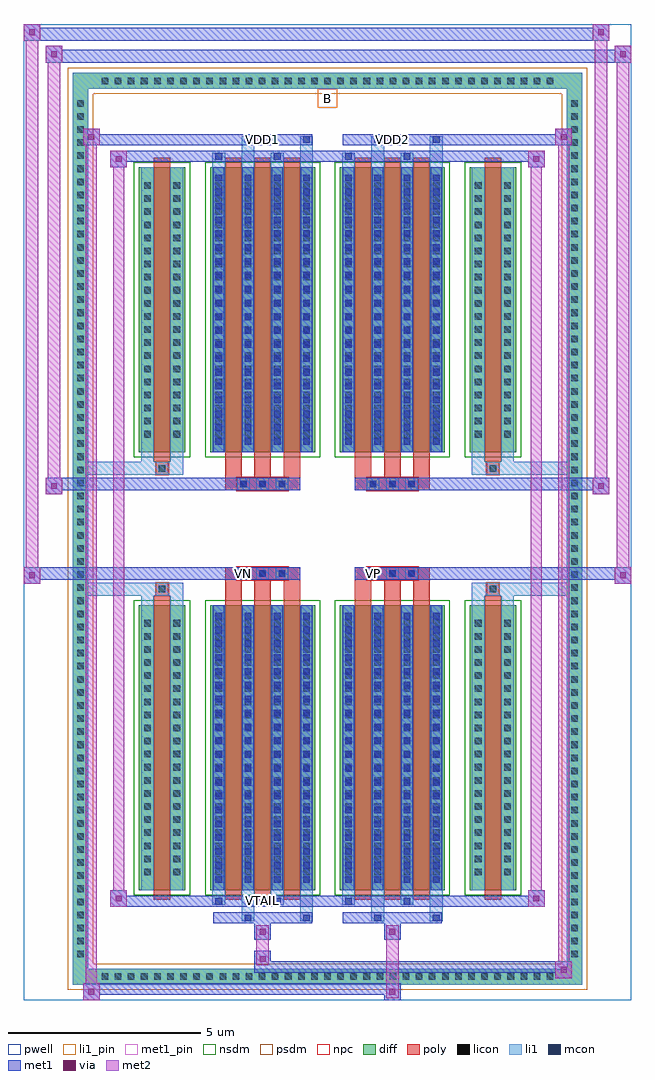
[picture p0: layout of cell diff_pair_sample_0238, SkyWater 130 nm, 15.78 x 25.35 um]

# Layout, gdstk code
import gdstk
lib = gdstk.Library(unit=1e-6, precision=5e-09)
def R(c, l, rs):  # rectangles x0, y0, x1, y1
    for r in rs: c.add(gdstk.rectangle(r[:2], r[2:], *l))
def A(c, l, x, y, w, h, nx, ny, dx, dy):  # array of equal rectangles
    R(c, l, [(x+i*dx, y+j*dy, x+i*dx+w, y+j*dy+h) for i in range(nx) for j in range(ny)])
def P(c, l, *ps):  # polygons
    for p in ps: c.add(gdstk.Polygon(p, *l))
pwell = (64, 44)
diff = (65, 20)
poly = (66, 20)
licon = (66, 44)
li1_pin = (67, 16)
li1 = (67, 20)
mcon = (67, 44)
met1_pin = (68, 16)
met1 = (68, 20)
via = (68, 44)
met2 = (69, 20)
nsdm = (93, 44)
psdm = (94, 20)
npc = (95, 20)

diff_pair_sample_0238 = lib.new_cell('diff_pair_sample_0238')
R(diff_pair_sample_0238, pwell, [(-7.89,-12.24,7.89,13.11), (-5.21,-10.43,-0.01,-0.795), (0.01,-10.43,5.21,-0.795), (-5.21,0.795,-0.01,10.43), (0.01,0.795,5.21,10.43)])
A(diff_pair_sample_0238, diff, -5.985, -11.84, 0.41, 0.41, 35, 2, 0.34, 23.27)
A(diff_pair_sample_0238, diff, -6.62, -11.255, 0.41, 0.41, 1, 66, 0, 0.34)
A(diff_pair_sample_0238, diff, 6.21, -11.255, 0.41, 0.41, 1, 66, 0, 0.34)
R(diff_pair_sample_0238, diff, [(-5.985,-11.84,5.985,-11.43), (-6.62,-11.255,-6.21,11.255), (6.21,-11.255,6.62,11.255), (-4.9,-9.385,-3.69,-1.985), (-3.05,-9.385,-0.32,-1.985), (0.32,-9.385,3.05,-1.985), (3.69,-9.385,4.9,-1.985), (-4.9,1.985,-3.69,9.385), (-3.05,1.985,-0.32,9.385), (0.32,1.985,3.05,9.385), (3.69,1.985,4.9,9.385), (-5.985,11.43,5.985,11.84)])
P(diff_pair_sample_0238, diff, [(6.62,11.84),(-6.62,11.84),(-6.62,-11.43),(-6.21,-11.43),(-6.21,11.43),(6.21,11.43),(6.21,-11.43),(-6.21,-11.43),(-6.62,-11.43),(-6.62,-11.84),(6.62,-11.84)])
A(diff_pair_sample_0238, poly, -2.66, -9.635, 0.43, 7.9, 3, 2, 0.76, 11.37)
A(diff_pair_sample_0238, poly, 0.71, -9.635, 0.43, 7.9, 3, 2, 0.76, 11.37)
A(diff_pair_sample_0238, poly, -2.66, -1.735, 0.43, 0.41, 3, 2, 0.76, 3.06)
A(diff_pair_sample_0238, poly, 0.71, -1.735, 0.43, 0.41, 3, 2, 0.76, 3.06)
A(diff_pair_sample_0238, poly, -2.35, -1.325, 0.33, 0.33, 3, 2, 0.5, 2.32)
A(diff_pair_sample_0238, poly, 1.02, -1.325, 0.33, 0.33, 3, 2, 0.5, 2.32)
R(diff_pair_sample_0238, poly, [(-4.51,-9.635,-4.08,-1.735), (4.08,-9.635,4.51,-1.735), (-4.46,-1.735,-4.13,-1.405), (-4.46,-1.735,-4.13,-1.405), (4.13,-1.735,4.46,-1.405), (4.13,-1.735,4.46,-1.405), (-2.66,-1.325,-0.71,-0.995), (0.71,-1.325,2.66,-0.995), (-2.66,0.995,-0.71,1.325), (0.71,0.995,2.66,1.325), (-4.46,1.405,-4.13,1.735), (-4.46,1.405,-4.13,1.735), (4.13,1.405,4.46,1.735), (4.13,1.405,4.46,1.735), (-4.51,1.735,-4.08,9.635), (4.08,1.735,4.51,9.635)])
A(diff_pair_sample_0238, licon, -5.865, -11.72, 0.17, 0.17, 35, 2, 0.34, 23.27)
A(diff_pair_sample_0238, licon, -6.5, -11.135, 0.17, 0.17, 1, 66, 0, 0.34)
A(diff_pair_sample_0238, licon, 6.33, -11.135, 0.17, 0.17, 1, 66, 0, 0.34)
A(diff_pair_sample_0238, licon, -4.76, -9, 0.17, 0.17, 1, 20, 0, 0.34)
A(diff_pair_sample_0238, licon, -4, -9, 0.17, 0.17, 1, 20, 0, 0.34)
A(diff_pair_sample_0238, licon, -2.91, -9, 0.17, 0.17, 4, 20, 0.76, 0.34)
A(diff_pair_sample_0238, licon, 0.46, -9, 0.17, 0.17, 4, 20, 0.76, 0.34)
A(diff_pair_sample_0238, licon, 3.83, -9, 0.17, 0.17, 1, 20, 0, 0.34)
A(diff_pair_sample_0238, licon, 4.59, -9, 0.17, 0.17, 1, 20, 0, 0.34)
A(diff_pair_sample_0238, licon, -2.27, -1.245, 0.17, 0.17, 3, 2, 0.5, 2.32)
A(diff_pair_sample_0238, licon, 1.1, -1.245, 0.17, 0.17, 3, 2, 0.5, 2.32)
A(diff_pair_sample_0238, licon, -4.76, 2.37, 0.17, 0.17, 1, 20, 0, 0.34)
A(diff_pair_sample_0238, licon, -4, 2.37, 0.17, 0.17, 1, 20, 0, 0.34)
A(diff_pair_sample_0238, licon, -2.91, 2.37, 0.17, 0.17, 4, 20, 0.76, 0.34)
A(diff_pair_sample_0238, licon, 0.46, 2.37, 0.17, 0.17, 4, 20, 0.76, 0.34)
A(diff_pair_sample_0238, licon, 3.83, 2.37, 0.17, 0.17, 1, 20, 0, 0.34)
A(diff_pair_sample_0238, licon, 4.59, 2.37, 0.17, 0.17, 1, 20, 0, 0.34)
R(diff_pair_sample_0238, licon, [(-4.38,-1.655,-4.21,-1.485), (4.21,-1.655,4.38,-1.485), (-4.38,1.485,-4.21,1.655), (4.21,1.485,4.38,1.655)])
R(diff_pair_sample_0238, li1_pin, [(-0.25,10.93,0.25,11.43)])
A(diff_pair_sample_0238, li1, -5.945, -11.8, 0.33, 0.33, 35, 2, 0.34, 23.27)
A(diff_pair_sample_0238, li1, -6.58, -11.215, 0.33, 0.33, 1, 66, 0, 0.34)
A(diff_pair_sample_0238, li1, 6.25, -11.215, 0.33, 0.33, 1, 66, 0, 0.34)
A(diff_pair_sample_0238, li1, -2.99, -9.385, 0.33, 7.4, 4, 2, 0.76, 11.37)
A(diff_pair_sample_0238, li1, 0.38, -9.385, 0.33, 7.4, 4, 2, 0.76, 11.37)
A(diff_pair_sample_0238, li1, -2.91, -9.19, 0.17, 0.17, 4, 20, 0.76, 0.36)
A(diff_pair_sample_0238, li1, -2.91, -9.19, 0.17, 7.01, 4, 2, 0.76, 11.37)
A(diff_pair_sample_0238, li1, 0.46, -9.19, 0.17, 0.17, 4, 20, 0.76, 0.36)
A(diff_pair_sample_0238, li1, 0.46, -9.19, 0.17, 7.01, 4, 2, 0.76, 11.37)
A(diff_pair_sample_0238, li1, -4.84, -9.08, 0.33, 0.33, 1, 20, 0, 0.34)
A(diff_pair_sample_0238, li1, -4.08, -9.08, 0.33, 0.33, 1, 20, 0, 0.34)
A(diff_pair_sample_0238, li1, -2.99, -9.08, 0.33, 0.33, 4, 20, 0.76, 0.34)
A(diff_pair_sample_0238, li1, 0.38, -9.08, 0.33, 0.33, 4, 20, 0.76, 0.34)
A(diff_pair_sample_0238, li1, 3.75, -9.08, 0.33, 0.33, 1, 20, 0, 0.34)
A(diff_pair_sample_0238, li1, 4.51, -9.08, 0.33, 0.33, 1, 20, 0, 0.34)
A(diff_pair_sample_0238, li1, -2.35, -1.325, 0.33, 0.33, 3, 2, 0.5, 2.32)
A(diff_pair_sample_0238, li1, 1.02, -1.325, 0.33, 0.33, 3, 2, 0.5, 2.32)
A(diff_pair_sample_0238, li1, -2.91, 2.18, 0.17, 0.17, 4, 20, 0.76, 0.36)
A(diff_pair_sample_0238, li1, 0.46, 2.18, 0.17, 0.17, 4, 20, 0.76, 0.36)
A(diff_pair_sample_0238, li1, -4.84, 2.29, 0.33, 0.33, 1, 20, 0, 0.34)
A(diff_pair_sample_0238, li1, -4.08, 2.29, 0.33, 0.33, 1, 20, 0, 0.34)
A(diff_pair_sample_0238, li1, -2.99, 2.29, 0.33, 0.33, 4, 20, 0.76, 0.34)
A(diff_pair_sample_0238, li1, 0.38, 2.29, 0.33, 0.33, 4, 20, 0.76, 0.34)
A(diff_pair_sample_0238, li1, 3.75, 2.29, 0.33, 0.33, 1, 20, 0, 0.34)
A(diff_pair_sample_0238, li1, 4.51, 2.29, 0.33, 0.33, 1, 20, 0, 0.34)
R(diff_pair_sample_0238, li1, [(-6.62,-11.84,-6.21,-11.43), (-6.62,-11.84,-6.21,-11.43), (-6.21,-11.84,6.21,-11.43), (6.21,-11.84,6.62,-11.43), (6.21,-11.84,6.62,-11.43), (-6.62,-11.43,-6.21,11.43), (6.21,-11.43,6.62,11.43), (-2.23,-10.19,-1.9,-9.385), (-2.15,-10.19,-1.98,-10.02), (-0.71,-10.19,-0.38,-9.385), (-0.63,-10.19,-0.46,-10.02), (1.14,-10.19,1.47,-9.385), (1.22,-10.19,1.39,-10.02), (2.66,-10.19,2.99,-9.385), (2.74,-10.19,2.91,-10.02), (-2.99,-9.76,-2.66,-9.385), (-2.91,-9.76,-2.74,-9.59), (-1.47,-9.76,-1.14,-9.385), (-1.39,-9.76,-1.22,-9.59), (0.38,-9.76,0.71,-9.385), (0.46,-9.76,0.63,-9.59), (1.9,-9.76,2.23,-9.385), (1.98,-9.76,2.15,-9.59), (-4.84,-9.385,-4.51,-1.985), (-4.08,-9.385,-3.75,-1.985), (3.75,-9.385,4.08,-1.985), (4.51,-9.385,4.84,-1.985), (-4.84,-1.985,-4.51,-1.405), (-4.08,-1.985,-3.75,-1.405), (3.75,-1.985,4.08,-1.405), (4.51,-1.985,4.84,-1.405), (-6.62,-1.735,-4.46,-1.405), (-4.84,-1.735,-4.46,-1.405), (-4.46,-1.735,-4.13,-1.405), (-4.13,-1.735,-3.75,-1.405), (3.75,-1.735,4.13,-1.405), (4.13,-1.735,4.46,-1.405), (4.13,-1.735,6.62,-1.405), (4.46,-1.735,4.84,-1.405), (-6.62,1.405,-4.46,1.735), (-4.84,1.405,-4.46,1.735), (-4.84,1.405,-4.51,1.985), (-4.46,1.405,-4.13,1.735), (-4.13,1.405,-3.75,1.735), (-4.08,1.405,-3.75,1.985), (3.75,1.405,4.13,1.735), (3.75,1.405,4.08,1.985), (4.13,1.405,4.46,1.735), (4.13,1.405,6.62,1.735), (4.46,1.405,4.84,1.735), (4.51,1.405,4.84,1.985), (-4.84,1.985,-4.51,9.385), (-4.08,1.985,-3.75,9.385), (3.75,1.985,4.08,9.385), (4.51,1.985,4.84,9.385), (-2.99,9.385,-2.66,9.76), (-2.23,9.385,-1.9,10.19), (-1.47,9.385,-1.14,9.76), (-0.71,9.385,-0.38,10.19), (0.38,9.385,0.71,9.76), (1.14,9.385,1.47,10.19), (1.9,9.385,2.23,9.76), (2.66,9.385,2.99,10.19), (-2.91,9.59,-2.74,9.76), (-1.39,9.59,-1.22,9.76), (0.46,9.59,0.63,9.76), (1.98,9.59,2.15,9.76), (-2.15,10.02,-1.98,10.19), (-0.63,10.02,-0.46,10.19), (1.22,10.02,1.39,10.19), (2.74,10.02,2.91,10.19), (-6.62,11.43,-6.21,11.84), (-6.62,11.43,-6.21,11.84), (-6.21,11.43,6.21,11.84), (6.21,11.43,6.62,11.84), (6.21,11.43,6.62,11.84)])
A(diff_pair_sample_0238, mcon, -2.91, -9.19, 0.17, 0.17, 4, 20, 0.76, 0.36)
A(diff_pair_sample_0238, mcon, 0.46, -9.19, 0.17, 0.17, 4, 20, 0.76, 0.36)
A(diff_pair_sample_0238, mcon, -2.27, -1.245, 0.17, 0.17, 3, 2, 0.5, 2.32)
A(diff_pair_sample_0238, mcon, 1.1, -1.245, 0.17, 0.17, 3, 2, 0.5, 2.32)
A(diff_pair_sample_0238, mcon, -2.91, 2.18, 0.17, 0.17, 4, 20, 0.76, 0.36)
A(diff_pair_sample_0238, mcon, 0.46, 2.18, 0.17, 0.17, 4, 20, 0.76, 0.36)
R(diff_pair_sample_0238, mcon, [(-2.15,-10.19,-1.98,-10.02), (-0.63,-10.19,-0.46,-10.02), (1.22,-10.19,1.39,-10.02), (2.74,-10.19,2.91,-10.02), (-2.91,-9.76,-2.74,-9.59), (-1.39,-9.76,-1.22,-9.59), (0.46,-9.76,0.63,-9.59), (1.98,-9.76,2.15,-9.59), (-2.91,9.59,-2.74,9.76), (-1.39,9.59,-1.22,9.76), (0.46,9.59,0.63,9.76), (1.98,9.59,2.15,9.76), (-2.15,10.02,-1.98,10.19), (-0.63,10.02,-0.46,10.19), (1.22,10.02,1.39,10.19), (2.74,10.02,2.91,10.19)])
R(diff_pair_sample_0238, met1_pin, [(-1.82,-9.8,-1.55,-9.53), (-2.32,-1.285,-2.05,-1.015), (1.05,-1.285,1.32,-1.015), (-1.82,9.98,-1.55,10.25), (1.55,9.98,1.82,10.25)])
A(diff_pair_sample_0238, met1, -2.97, -9.385, 0.29, 7.4, 4, 2, 0.76, 11.37)
A(diff_pair_sample_0238, met1, 0.4, -9.385, 0.29, 7.4, 4, 2, 0.76, 11.37)
A(diff_pair_sample_0238, met1, -2.97, -9.25, 0.29, 0.29, 4, 20, 0.76, 0.36)
A(diff_pair_sample_0238, met1, 0.4, -9.25, 0.29, 0.29, 4, 20, 0.76, 0.36)
A(diff_pair_sample_0238, met1, -2.33, -1.305, 0.29, 0.29, 3, 2, 0.5, 2.32)
A(diff_pair_sample_0238, met1, 1.04, -1.305, 0.29, 0.29, 3, 2, 0.5, 2.32)
A(diff_pair_sample_0238, met1, -2.97, 2.12, 0.29, 0.29, 4, 20, 0.76, 0.36)
A(diff_pair_sample_0238, met1, 0.4, 2.12, 0.29, 0.29, 4, 20, 0.76, 0.36)
R(diff_pair_sample_0238, met1, [(-6.35,-12.24,-5.92,-11.81), (1.47,-12.24,1.9,-11.81), (-6.35,-12.1,1.9,-11.81), (5.92,-11.67,6.35,-11.24), (-1.9,-11.53,6.35,-11.24), (-1.9,-11.39,-1.47,-10.96), (-1.9,-10.68,-1.47,-10.25), (1.47,-10.68,1.9,-10.25), (-2.97,-10.25,-0.4,-9.96), (-2.21,-10.25,-1.92,-9.96), (-0.69,-10.25,-0.4,-9.96), (0.4,-10.25,2.97,-9.96), (1.16,-10.25,1.45,-9.96), (2.68,-10.25,2.97,-9.96), (-5.64,-9.82,-5.21,-9.39), (-5.64,-9.82,-2.97,-9.53), (-2.97,-9.82,-2.68,-9.53), (-2.97,-9.82,-0.4,-9.53), (-1.45,-9.82,-1.16,-9.53), (-0.4,-9.82,0.4,-9.53), (0.4,-9.82,0.69,-9.53), (0.4,-9.82,2.97,-9.53), (1.92,-9.82,2.21,-9.53), (2.97,-9.82,5.64,-9.53), (5.21,-9.82,5.64,-9.39), (-7.89,-1.425,-7.46,-0.995), (7.46,-1.425,7.89,-0.995), (-7.89,-1.325,-0.71,-0.995), (-2.66,-1.325,-0.71,-0.995), (0.71,-1.325,2.66,-0.995), (0.71,-1.325,7.89,-0.995), (-7.32,0.895,-6.89,1.325), (6.89,0.895,7.32,1.325), (-7.32,0.995,-2.66,1.325), (-2.66,0.995,-0.71,1.325), (0.71,0.995,2.66,1.325), (2.66,0.995,7.32,1.325), (-5.64,9.39,-5.21,9.82), (5.21,9.39,5.64,9.82), (-5.64,9.53,-2.97,9.82), (-2.97,9.53,-2.68,9.82), (-2.97,9.53,-0.4,9.82), (-1.45,9.53,-1.16,9.82), (-0.4,9.53,0.4,9.82), (0.4,9.53,0.69,9.82), (0.4,9.53,2.97,9.82), (1.92,9.53,2.21,9.82), (2.97,9.53,5.64,9.82), (-6.35,9.96,-5.92,10.39), (-6.35,9.96,-2.97,10.25), (-2.97,9.96,-0.4,10.25), (-2.21,9.96,-1.92,10.25), (-0.69,9.96,-0.4,10.25), (0.4,9.96,2.97,10.25), (1.16,9.96,1.45,10.25), (2.68,9.96,2.97,10.25), (2.97,9.96,6.35,10.25), (5.92,9.96,6.35,10.39), (-7.32,12.11,-6.89,12.54), (-7.32,12.11,-5.21,12.44), (-5.21,12.11,5.21,12.44), (5.21,12.11,7.89,12.44), (7.46,12.11,7.89,12.54), (-7.89,12.68,-7.46,13.11), (-7.89,12.68,-5.21,13.01), (-5.21,12.68,5.21,13.01), (5.21,12.68,7.32,13.01), (6.89,12.68,7.32,13.11)])
R(diff_pair_sample_0238, via, [(-6.21,-12.1,-6.06,-11.95), (1.61,-12.1,1.76,-11.95), (6.06,-11.53,6.21,-11.38), (-1.76,-11.25,-1.61,-11.1), (-1.76,-10.54,-1.61,-10.39), (1.61,-10.54,1.76,-10.39), (-5.5,-9.68,-5.35,-9.53), (5.35,-9.68,5.5,-9.53), (-7.75,-1.285,-7.6,-1.135), (7.6,-1.285,7.75,-1.135), (-7.18,1.035,-7.03,1.185), (7.03,1.035,7.18,1.185), (-5.5,9.53,-5.35,9.68), (5.35,9.53,5.5,9.68), (-6.21,10.1,-6.06,10.25), (6.06,10.1,6.21,10.25), (-7.18,12.25,-7.03,12.4), (7.6,12.25,7.75,12.4), (-7.75,12.82,-7.6,12.97), (7.03,12.82,7.18,12.97)])
R(diff_pair_sample_0238, met2, [(-6.35,-12.24,-5.92,-11.81), (-6.28,-12.24,-5.99,10.39), (-5.99,-12.24,-5.92,-11.81), (-6.3,-12.19,-5.97,-11.86), (1.52,-12.19,1.85,-11.86), (1.52,-11.86,1.85,-10.63), (5.92,-11.67,6.35,-11.24), (5.99,-11.67,6.28,10.39), (6.28,-11.67,6.35,-11.24), (5.97,-11.62,6.3,-11.29), (-1.85,-11.34,-1.52,-11.01), (-1.85,-11.01,-1.52,-10.63), (-1.85,-10.63,-1.52,-10.3), (1.52,-10.63,1.85,-10.3), (-5.64,-9.82,-5.21,-9.39), (-5.57,-9.82,-5.28,9.82), (-5.28,-9.82,-5.21,-9.39), (5.21,-9.82,5.64,-9.39), (5.28,-9.82,5.57,9.82), (5.57,-9.82,5.64,-9.39), (-5.59,-9.77,-5.26,-9.44), (5.26,-9.77,5.59,-9.44), (-7.89,-1.425,-7.46,-0.995), (-7.84,-1.425,-7.51,13.11), (-7.51,-1.425,-7.46,-0.995), (7.46,-1.425,7.89,-0.995), (7.51,-1.425,7.84,12.54), (7.84,-1.425,7.89,-0.995), (-7.84,-1.375,-7.51,-1.045), (7.51,-1.375,7.84,-1.045), (-7.32,0.895,-6.89,1.325), (-7.27,0.895,-6.94,12.54), (-6.94,0.895,-6.89,1.325), (6.89,0.895,7.32,1.325), (6.94,0.895,7.27,13.11), (7.27,0.895,7.32,1.325), (-7.27,0.945,-6.94,1.275), (6.94,0.945,7.27,1.275), (-5.64,9.39,-5.21,9.82), (-5.28,9.39,-5.21,9.82), (5.21,9.39,5.64,9.82), (5.57,9.39,5.64,9.82), (-5.59,9.44,-5.26,9.77), (5.26,9.44,5.59,9.77), (-6.35,9.96,-5.92,10.39), (-5.99,9.96,-5.92,10.39), (5.92,9.96,6.35,10.39), (6.28,9.96,6.35,10.39), (-6.3,10.01,-5.97,10.34), (5.97,10.01,6.3,10.34), (-7.32,12.11,-6.89,12.54), (-6.94,12.11,-6.89,12.54), (7.46,12.11,7.89,12.54), (7.84,12.11,7.89,12.54), (-7.27,12.16,-6.94,12.49), (7.51,12.16,7.84,12.49), (-7.89,12.68,-7.46,13.11), (-7.51,12.68,-7.46,13.11), (6.89,12.68,7.32,13.11), (7.27,12.68,7.32,13.11), (-7.84,12.73,-7.51,13.06), (6.94,12.73,7.27,13.06)])
R(diff_pair_sample_0238, nsdm, [(-5.03,-9.515,-3.56,-1.855), (-3.18,-9.515,-0.19,-1.855), (0.19,-9.515,3.18,-1.855), (3.56,-9.515,5.03,-1.855), (-5.03,1.855,-3.56,9.515), (-3.18,1.855,-0.19,9.515), (0.19,1.855,3.18,9.515), (3.56,1.855,5.03,9.515)])
P(diff_pair_sample_0238, psdm, [(6.75,11.97),(-6.75,11.97),(-6.75,-11.3),(-6.08,-11.3),(-6.08,11.3),(6.08,11.3),(6.08,-11.3),(-6.08,-11.3),(-6.75,-11.3),(-6.75,-11.97),(6.75,-11.97)])
A(diff_pair_sample_0238, npc, -2.37, -1.345, 0.37, 0.37, 3, 2, 0.5, 2.32)
A(diff_pair_sample_0238, npc, 1, -1.345, 0.37, 0.37, 3, 2, 0.5, 2.32)
R(diff_pair_sample_0238, npc, [(-4.48,-1.755,-4.11,-1.385), (4.11,-1.755,4.48,-1.385), (-2.37,-1.345,-1.5,-0.975), (-2.37,-1.345,-1.5,-0.975), (-1.87,-1.345,-1,-0.975), (-1.87,-1.345,-1,-0.975), (1,-1.345,1.87,-0.975), (1,-1.345,1.87,-0.975), (1.5,-1.345,2.37,-0.975), (1.5,-1.345,2.37,-0.975), (-2.37,0.975,-1.5,1.345), (-2.37,0.975,-1.5,1.345), (-1.87,0.975,-1,1.345), (-1.87,0.975,-1,1.345), (1,0.975,1.87,1.345), (1,0.975,1.87,1.345), (1.5,0.975,2.37,1.345), (1.5,0.975,2.37,1.345), (-4.48,1.385,-4.11,1.755), (4.11,1.385,4.48,1.755)])
diff_pair_sample_0238.add(gdstk.Label('VTAIL', (-1.685,-9.665), layer=68, texttype=5))
diff_pair_sample_0238.add(gdstk.Label('VN', (-2.185,-1.15), layer=68, texttype=5))
diff_pair_sample_0238.add(gdstk.Label('VP', (1.185,-1.15), layer=68, texttype=5))
diff_pair_sample_0238.add(gdstk.Label('B', (0,11.18), layer=67, texttype=5))
diff_pair_sample_0238.add(gdstk.Label('VDD2', (1.685,10.115), layer=68, texttype=5))
diff_pair_sample_0238.add(gdstk.Label('VDD1', (-1.685,10.115), layer=68, texttype=5))

lib.write_gds('diff_pair_sample_0238.gds')
